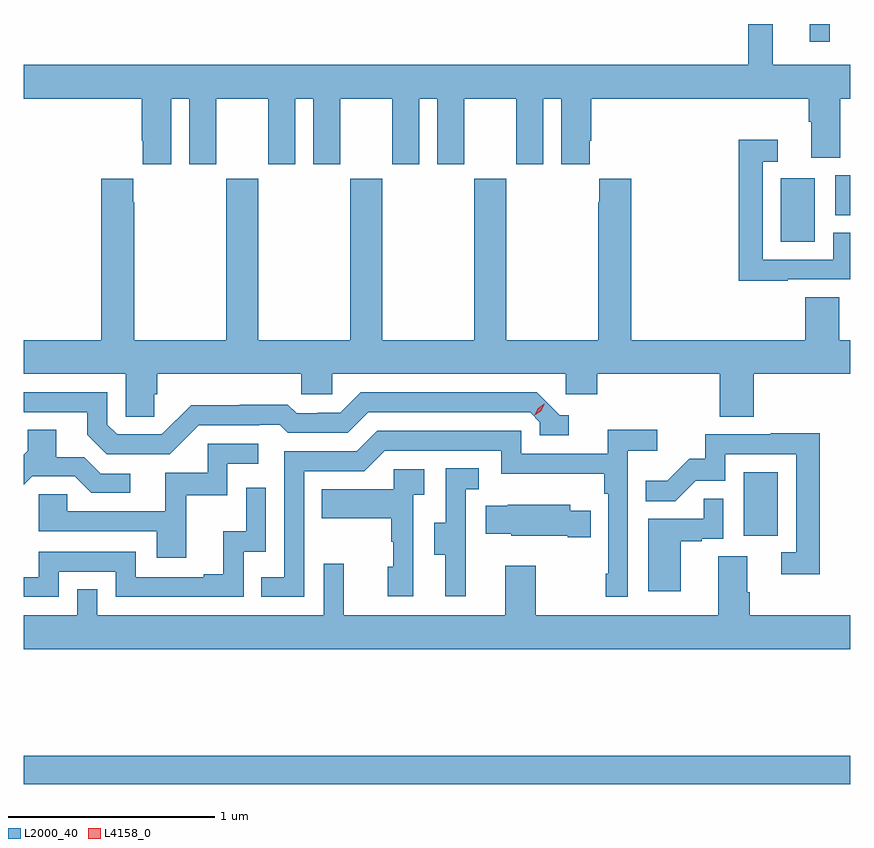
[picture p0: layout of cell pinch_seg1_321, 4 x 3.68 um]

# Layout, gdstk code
import gdstk
lib = gdstk.Library(unit=1e-6, precision=1e-09)
def R(c, l, rs):  # rectangles x0, y0, x1, y1
    for r in rs: c.add(gdstk.rectangle(r[:2], r[2:], *l))
def P(c, l, *ps):  # polygons
    for p in ps: c.add(gdstk.Polygon(p, *l))
L2000_40 = (2000, 40)
L4158_0 = (4158, 0)

pinch_seg1_321 = lib.new_cell('pinch_seg1_321')
R(pinch_seg1_321, L2000_40, [(1011.694,547.084,1015.694,547.22), (1015.178,548.286,1015.342,548.593), (1015.358,549.708,1015.522,550.015), (1015.62,549.835,1015.694,550.029), (1015.497,550.674,1015.594,550.761)])
P(pinch_seg1_321, L2000_40, [(1012.408,550.4),(1012.496,550.4),(1012.496,550.083),(1012.627,550.083),(1012.627,550.4),(1012.877,550.4),(1012.877,550.083),(1013.008,550.083),(1013.008,550.4),(1013.096,550.4),(1013.096,550.083),(1013.227,550.083),(1013.227,550.4),(1013.477,550.4),(1013.477,550.083),(1013.608,550.083),(1013.608,550.4),(1013.696,550.4),(1013.696,550.083),(1013.827,550.083),(1013.827,550.4),(1014.077,550.4),(1014.077,550.083),(1014.208,550.083),(1014.208,550.4),(1014.296,550.4),(1014.296,550.083),(1014.433,550.083),(1014.433,550.195),(1014.44,550.195),(1014.44,550.4),(1015.493,550.4),(1015.493,550.288),(1015.505,550.288),(1015.505,550.114),(1015.645,550.114),(1015.645,550.4),(1015.694,550.4),(1015.694,550.564),(1015.319,550.564),(1015.319,550.761),(1015.201,550.761),(1015.201,550.564),(1011.694,550.564),(1011.694,550.4),(1012.265,550.4),(1012.265,550.195),(1012.271,550.195),(1012.271,550.083),(1012.408,550.083)],
  [(1015.391,549.525),(1015.694,549.525),(1015.694,549.75),(1015.611,549.75),(1015.611,549.621),(1015.269,549.621),(1015.269,550.095),(1015.342,550.095),(1015.342,550.201),(1015.153,550.201),(1015.153,549.52),(1015.391,549.52)],
  [(1012.325,548.97),(1012.34,548.97),(1012.34,549.068),(1013.037,549.068),(1013.037,548.97),(1013.187,548.97),(1013.187,549.068),(1014.318,549.068),(1014.318,548.97),(1014.47,548.97),(1014.47,549.068),(1015.061,549.068),(1015.061,548.86),(1015.226,548.86),(1015.226,549.068),(1015.694,549.068),(1015.694,549.232),(1015.64,549.232),(1015.64,549.44),(1015.475,549.44),(1015.475,549.232),(1014.635,549.232),(1014.635,550.012),(1014.479,550.012),(1014.479,549.899),(1014.475,549.899),(1014.475,549.232),(1014.03,549.232),(1014.03,550.012),(1013.875,550.012),(1013.875,549.232),(1013.43,549.232),(1013.43,550.012),(1013.275,550.012),(1013.275,549.232),(1012.83,549.232),(1012.83,550.012),(1012.675,550.012),(1012.675,549.232),(1012.23,549.232),(1012.23,549.899),(1012.225,549.899),(1012.225,550.012),(1012.07,550.012),(1012.07,549.232),(1011.694,549.232),(1011.694,549.068),(1012.188,549.068),(1012.188,548.86),(1012.325,548.86)],
  [(1012.542,548.82),(1012.835,548.82),(1012.835,548.823),(1012.934,548.823),(1012.973,548.784),(1013.262,548.784),(1013.361,548.883),(1014.144,548.883),(1014.192,548.835),(1014.192,548.772),(1014.331,548.772),(1014.331,548.868),(1014.288,548.868),(1014.177,548.979),(1013.324,548.979),(1013.225,548.88),(1013.118,548.88),(1013.118,548.877),(1013.015,548.877),(1012.973,548.92),(1012.74,548.92),(1012.74,548.917),(1012.504,548.917),(1012.362,548.775),(1012.146,548.775),(1012.098,548.823),(1012.098,548.979),(1011.694,548.979),(1011.694,548.883),(1012.001,548.883),(1012.001,548.773),(1012.095,548.679),(1012.401,548.679)],
  [(1012.21,548.586),(1012.068,548.586),(1011.988,548.666),(1011.853,548.666),(1011.853,548.798),(1011.713,548.798),(1011.713,548.696),(1011.694,548.677),(1011.694,548.533),(1011.735,548.574),(1011.941,548.574),(1012.022,548.493),(1012.21,548.493)],
  [(1013.052,548.598),(1013.343,548.598),(1013.442,548.697),(1014.006,548.697),(1014.006,548.585),(1014.502,548.585),(1014.502,548.489),(1014.522,548.489),(1014.522,548.101),(1014.51,548.101),(1014.51,547.989),(1014.618,547.989),(1014.618,548.696),(1014.76,548.696),(1014.76,548.798),(1014.521,548.798),(1014.521,548.682),(1014.102,548.682),(1014.102,548.793),(1013.405,548.793),(1013.306,548.694),(1012.956,548.694),(1012.956,548.085),(1012.843,548.085),(1012.843,547.989),(1013.052,547.989)],
  [(1015.547,548.78),(1015.309,548.78),(1015.309,548.775),(1014.991,548.775),(1014.991,548.658),(1014.914,548.658),(1014.807,548.551),(1014.703,548.551),(1014.703,548.452),(1014.847,548.452),(1014.945,548.55),(1015.089,548.55),(1015.089,548.679),(1015.431,548.679),(1015.431,548.205),(1015.359,548.205),(1015.359,548.1),(1015.547,548.1)],
  [(1012.481,548.481),(1012.68,548.481),(1012.68,548.634),(1012.828,548.634),(1012.828,548.73),(1012.584,548.73),(1012.584,548.589),(1012.379,548.589),(1012.379,548.403),(1011.905,548.403),(1011.905,548.487),(1011.768,548.487),(1011.768,548.307),(1012.337,548.307),(1012.337,548.178),(1012.481,548.178)],
  [(1013.834,548.205),(1013.832,548.205),(1013.832,548.509),(1013.896,548.509),(1013.896,548.612),(1013.736,548.612),(1013.736,548.349),(1013.681,548.349),(1013.681,548.194),(1013.735,548.194),(1013.735,547.992),(1013.834,547.992)],
  [(1013.58,548.483),(1013.632,548.483),(1013.632,548.607),(1013.484,548.607),(1013.484,548.509),(1013.137,548.509),(1013.137,548.369),(1013.472,548.369),(1013.472,548.255),(1013.482,548.255),(1013.482,548.136),(1013.456,548.136),(1013.456,547.992),(1013.58,547.992)],
  [(1011.864,548.112),(1012.14,548.112),(1012.14,547.989),(1012.758,547.989),(1012.758,548.208),(1012.866,548.208),(1012.866,548.518),(1012.77,548.518),(1012.77,548.306),(1012.661,548.306),(1012.661,548.098),(1012.565,548.098),(1012.565,548.085),(1012.236,548.085),(1012.236,548.208),(1011.768,548.208),(1011.768,548.085),(1011.694,548.085),(1011.694,547.989),(1011.864,547.989)],
  [(1014.874,548.259),(1014.974,548.259),(1014.974,548.271),(1015.08,548.271),(1015.08,548.465),(1014.985,548.465),(1014.985,548.367),(1014.716,548.367),(1014.716,548.016),(1014.874,548.016)],
  [(1014.437,548.407),(1014.339,548.407),(1014.339,548.434),(1014.037,548.434),(1014.037,548.431),(1013.929,548.431),(1013.929,548.294),(1014.054,548.294),(1014.054,548.285),(1014.326,548.285),(1014.326,548.278),(1014.437,548.278)],
  [(1015.694,547.9),(1015.208,547.9),(1015.208,548.012),(1015.195,548.012),(1015.195,548.186),(1015.055,548.186),(1015.055,547.9),(1014.171,547.9),(1014.171,548.14),(1014.023,548.14),(1014.023,547.9),(1013.243,547.9),(1013.243,548.149),(1013.145,548.149),(1013.145,547.9),(1012.05,547.9),(1012.05,548.027),(1011.954,548.027),(1011.954,547.9),(1011.694,547.9),(1011.694,547.736),(1015.694,547.736)])
P(pinch_seg1_321, L4158_0, [(1014.167,548.869),(1014.167,548.87),(1014.183,548.902),(1014.214,548.923),(1014.214,548.923),(1014.214,548.922),(1014.198,548.889),(1014.168,548.869)])

lib.write_gds('pinch_seg1_321.gds')
